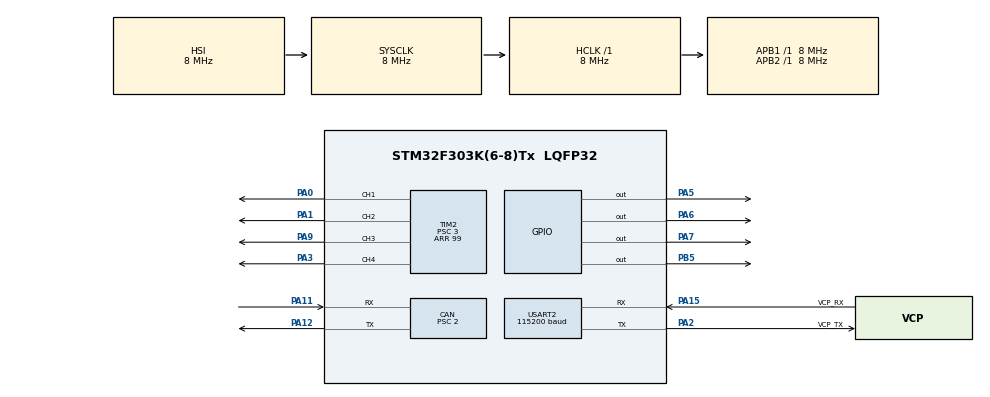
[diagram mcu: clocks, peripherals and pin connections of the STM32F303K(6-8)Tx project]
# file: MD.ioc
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CAN.BS1=CAN_BS1_2TQ
CAN.CalculateBaudRate=1000000
CAN.CalculateTimeBit=1000
CAN.CalculateTimeQuantum=250.0
CAN.Prescaler=2
Mcu.Family=STM32F3
Mcu.Name=STM32F303K(6-8)Tx
Mcu.Package=LQFP32
NVIC.CAN_RX0_IRQn=true\:0\:0\:false\:false\:true\:true\:true\:true
NVIC.PriorityGroup=NVIC_PRIORITYGROUP_4
NVIC.USART2_IRQn=true\:0\:0\:false\:false\:true\:true\:true\:true
PA0.Signal=S_TIM2_CH1_ETR
PA1.Signal=S_TIM2_CH2
PA11.Mode=CAN_Activate
PA11.Signal=CAN_RX
PA12.Mode=CAN_Activate
PA12.Signal=CAN_TX
PA13.GPIO_Label=SWDIO
PA13.Mode=Serial_Wire
PA13.Signal=SYS_JTMS-SWDIO
PA14.GPIO_Label=SWCLK
PA14.Mode=Serial_Wire
PA14.Signal=SYS_JTCK-SWCLK
PA15.GPIO_Label=VCP_RX
PA15.Mode=Asynchronous
PA15.Signal=USART2_RX
PA2.GPIO_Label=VCP_TX
PA2.Mode=Asynchronous
PA2.Signal=USART2_TX
PA3.Signal=S_TIM2_CH4
PA5.Signal=GPIO_Output
PA6.Signal=GPIO_Output
PA7.Signal=GPIO_Output
PA9.Signal=S_TIM2_CH3
PB5.Signal=GPIO_Output
PF0\ /\ OSC_IN.GPIO_Label=MCO
PF0\ /\ OSC_IN.Mode=HSE-External-Clock-Source
PF0\ /\ OSC_IN.Signal=RCC_OSC_IN
ProjectManager.HeapSize=0x200
ProjectManager.StackSize=0x400
ProjectManager.TargetToolchain=STM32CubeIDE
RCC.AHBFreq_Value=8000000
RCC.APB1Freq_Value=8000000
RCC.APB2Freq_Value=8000000
RCC.CortexFreq_Value=8000000
RCC.HSE_VALUE=8000000
RCC.HSI_VALUE=8000000
RCC.SYSCLKFreq_VALUE=8000000
SH.S_TIM2_CH1_ETR.0=TIM2_CH1,PWM Generation1 CH1
SH.S_TIM2_CH2.0=TIM2_CH2,PWM Generation2 CH2
SH.S_TIM2_CH3.0=TIM2_CH3,PWM Generation3 CH3
SH.S_TIM2_CH4.0=TIM2_CH4,PWM Generation4 CH4
TIM2.Channel-PWM\ Generation1\ CH1=TIM_CHANNEL_1
TIM2.Channel-PWM\ Generation2\ CH2=TIM_CHANNEL_2
TIM2.Channel-PWM\ Generation3\ CH3=TIM_CHANNEL_3
TIM2.Channel-PWM\ Generation4\ CH4=TIM_CHANNEL_4
TIM2.Period=99
TIM2.Prescaler=3
USART2.BaudRate=115200
USART2.VirtualMode-Asynchronous=VM_ASYNC
board=NUCLEO-F303K8

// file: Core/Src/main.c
/* USER CODE BEGIN Header */
/**
  ******************************************************************************
  * @file           : main.c
  * @brief          : Main program body
  ******************************************************************************
  * @attention
  *
  * Copyright (c) 2026 STMicroelectronics.
  * All rights reserved.
  *
  * This software is licensed under terms that can be found in the LICENSE file
  * in the root directory of this software component.
  * If no LICENSE file comes with this software, it is provided AS-IS.
  *
  ******************************************************************************
  */
/* USER CODE END Header */
#include "main.h"
/* USER CODE BEGIN Includes */
#include <stdio.h>
/* USER CODE END Includes */

/* USER CODE BEGIN PD */
#define CAN_ID 0x200
/* USER CODE END PD */

CAN_HandleTypeDef hcan;

TIM_HandleTypeDef htim2;

UART_HandleTypeDef huart2;

/* USER CODE BEGIN PV */
uint8_t currentPWM[4]; //0:机 1:供給 2:
uint8_t currentDIR[4];
uint32_t rxId;
uint8_t canRxFlag = 0;

int flag;

uint8_t RxData[8];
/* USER CODE END PV */

void SystemClock_Config(void);
static void MX_GPIO_Init(void);
static void MX_USART2_UART_Init(void);
static void MX_CAN_Init(void);
static void MX_TIM2_Init(void);

/* USER CODE BEGIN 0 */
void HAL_CAN_RxFifo0MsgPendingCallback(CAN_HandleTypeDef *hcan){
    CAN_RxHeaderTypeDef RxHeader;

    if(HAL_CAN_GetRxMessage(hcan, CAN_RX_FIFO0, &RxHeader, RxData) == HAL_OK){
        //rxId = (RxHeader.IDE == CAN_ID_STD)? RxHeader.StdId : RxHeader.ExtId ;
     if (RxHeader.IDE == CAN_ID_STD) {
         rxId = RxHeader.StdId;
     }
            for(int i = 0 ; i < 4 ; i++){
             currentPWM[i] = RxData[i];
            }
            for(int i = 0 ; i < 4 ; i++){
             currentDIR[i] = RxData[i + 4];
            }
             canRxFlag = 1;

        }
    }

/* USER CODE END 0 */

int main(void)
{

  /* MCU Configuration--------------------------------------------------------*/

  /* Reset of all peripherals, Initializes the Flash interface and the Systick. */
  HAL_Init();

  /* Configure the system clock */
  SystemClock_Config();

  /* Initialize all configured peripherals */
  MX_GPIO_Init();
  MX_USART2_UART_Init();
  MX_CAN_Init();
  MX_TIM2_Init();
  /* USER CODE BEGIN 2 */
  HAL_CAN_Start(&hcan);
  HAL_CAN_ActivateNotification(&hcan, CAN_IT_RX_FIFO0_MSG_PENDING);
  HAL_TIM_PWM_Start(&htim2, TIM_CHANNEL_1);
  HAL_TIM_PWM_Start(&htim2, TIM_CHANNEL_2);
  HAL_TIM_PWM_Start(&htim2, TIM_CHANNEL_3);
  HAL_TIM_PWM_Start(&htim2, TIM_CHANNEL_4);
  /* USER CODE END 2 */

  /* Infinite loop */
  /* USER CODE BEGIN WHILE */
  while (1)
  {
	  if(canRxFlag){
	          canRxFlag = 0;

	          __HAL_TIM_SET_COMPARE(&htim2,TIM_CHANNEL_4,currentPWM[0]);
	          __HAL_TIM_SET_COMPARE(&htim2,TIM_CHANNEL_2,currentPWM[1]);
	          __HAL_TIM_SET_COMPARE(&htim2,TIM_CHANNEL_1,currentPWM[2]);
	          __HAL_TIM_SET_COMPARE(&htim2,TIM_CHANNEL_3,currentPWM[3]);

	          HAL_GPIO_WritePin(GPIOB, GPIO_PIN_5, currentDIR[3]);
	          HAL_GPIO_WritePin(GPIOA, GPIO_PIN_7, currentDIR[1]);
	          HAL_GPIO_WritePin(GPIOA, GPIO_PIN_5, currentDIR[0]);
	          HAL_GPIO_WritePin(GPIOA, GPIO_PIN_6, currentDIR[2]);

	          char buff[128];
	          int size = snprintf(buff,sizeof(buff),"Rx\tID:%4lX\tdata %5d %5d %5d %5d\n\r", rxId,currentPWM[0],currentPWM[1],currentPWM[2],currentPWM[3]);
	          HAL_UART_Transmit_IT(&huart2, (uint8_t*)buff, size);
	          }
    /* USER CODE END WHILE */

  }
}

void SystemClock_Config(void)
{
  RCC_OscInitTypeDef RCC_OscInitStruct = {0};
  RCC_ClkInitTypeDef RCC_ClkInitStruct = {0};

  /** Initializes the RCC Oscillators according to the specified parameters
  * in the RCC_OscInitTypeDef structure.
  */
  RCC_OscInitStruct.OscillatorType = RCC_OSCILLATORTYPE_HSI;
  RCC_OscInitStruct.HSIState = RCC_HSI_ON;
  RCC_OscInitStruct.HSICalibrationValue = RCC_HSICALIBRATION_DEFAULT;
  RCC_OscInitStruct.PLL.PLLState = RCC_PLL_NONE;
  if (HAL_RCC_OscConfig(&RCC_OscInitStruct) != HAL_OK)
  {
    Error_Handler();
  }

  /** Initializes the CPU, AHB and APB buses clocks
  */
  RCC_ClkInitStruct.ClockType = RCC_CLOCKTYPE_HCLK|RCC_CLOCKTYPE_SYSCLK
                              |RCC_CLOCKTYPE_PCLK1|RCC_CLOCKTYPE_PCLK2;
  RCC_ClkInitStruct.SYSCLKSource = RCC_SYSCLKSOURCE_HSI;
  RCC_ClkInitStruct.AHBCLKDivider = RCC_SYSCLK_DIV1;
  RCC_ClkInitStruct.APB1CLKDivider = RCC_HCLK_DIV1;
  RCC_ClkInitStruct.APB2CLKDivider = RCC_HCLK_DIV1;

  if (HAL_RCC_ClockConfig(&RCC_ClkInitStruct, FLASH_LATENCY_0) != HAL_OK)
  {
    Error_Handler();
  }
}

static void MX_CAN_Init(void)
{

  hcan.Instance = CAN;
  hcan.Init.Prescaler = 2;
  hcan.Init.Mode = CAN_MODE_NORMAL;
  hcan.Init.SyncJumpWidth = CAN_SJW_1TQ;
  hcan.Init.TimeSeg1 = CAN_BS1_2TQ;
  hcan.Init.TimeSeg2 = CAN_BS2_1TQ;
  hcan.Init.TimeTriggeredMode = DISABLE;
  hcan.Init.AutoBusOff = DISABLE;
  hcan.Init.AutoWakeUp = DISABLE;
  hcan.Init.AutoRetransmission = DISABLE;
  hcan.Init.ReceiveFifoLocked = DISABLE;
  hcan.Init.TransmitFifoPriority = DISABLE;
  if (HAL_CAN_Init(&hcan) != HAL_OK)
  {
    Error_Handler();
  }
  /* USER CODE BEGIN CAN_Init 2 */
  CAN_FilterTypeDef filter;
   filter.FilterIdHigh           = CAN_ID << 5;               // フィルターID上位16bit
   filter.FilterIdLow            = 0;                        // フィルターID下位16bit
   filter.FilterMaskIdHigh       = 0x7FF << 5;                   // フィルターマスクID上位16bit
   filter.FilterMaskIdLow        = 0;                        // フィルターマスクID下位16bit
   filter.FilterScale            = CAN_FILTERSCALE_32BIT;    // 32ビットモード
   filter.FilterFIFOAssignment   = CAN_FILTER_FIFO0;         // FIFO0へ格納
   filter.FilterBank	            = 0;
   filter.FilterMode             = CAN_FILTERMODE_IDMASK;    // IDマスクモード
   filter.SlaveStartFilterBank   = 14;
   filter.FilterActivation       = ENABLE;

   HAL_CAN_ConfigFilter(&hcan, &filter);
  /* USER CODE END CAN_Init 2 */

}

static void MX_TIM2_Init(void)
{

  TIM_MasterConfigTypeDef sMasterConfig = {0};
  TIM_OC_InitTypeDef sConfigOC = {0};

  htim2.Instance = TIM2;
  htim2.Init.Prescaler = 3;
  htim2.Init.CounterMode = TIM_COUNTERMODE_UP;
  htim2.Init.Period = 99;
  htim2.Init.ClockDivision = TIM_CLOCKDIVISION_DIV1;
  htim2.Init.AutoReloadPreload = TIM_AUTORELOAD_PRELOAD_DISABLE;
  if (HAL_TIM_PWM_Init(&htim2) != HAL_OK)
  {
    Error_Handler();
  }
  sMasterConfig.MasterOutputTrigger = TIM_TRGO_RESET;
  sMasterConfig.MasterSlaveMode = TIM_MASTERSLAVEMODE_DISABLE;
  if (HAL_TIMEx_MasterConfigSynchronization(&htim2, &sMasterConfig) != HAL_OK)
  {
    Error_Handler();
  }
  sConfigOC.OCMode = TIM_OCMODE_PWM1;
  sConfigOC.Pulse = 0;
  sConfigOC.OCPolarity = TIM_OCPOLARITY_HIGH;
  sConfigOC.OCFastMode = TIM_OCFAST_DISABLE;
  if (HAL_TIM_PWM_ConfigChannel(&htim2, &sConfigOC, TIM_CHANNEL_1) != HAL_OK)
  {
    Error_Handler();
  }
  if (HAL_TIM_PWM_ConfigChannel(&htim2, &sConfigOC, TIM_CHANNEL_2) != HAL_OK)
  {
    Error_Handler();
  }
  if (HAL_TIM_PWM_ConfigChannel(&htim2, &sConfigOC, TIM_CHANNEL_3) != HAL_OK)
  {
    Error_Handler();
  }
  if (HAL_TIM_PWM_ConfigChannel(&htim2, &sConfigOC, TIM_CHANNEL_4) != HAL_OK)
  {
    Error_Handler();
  }
  HAL_TIM_MspPostInit(&htim2);

}

static void MX_USART2_UART_Init(void)
{

  huart2.Instance = USART2;
  huart2.Init.BaudRate = 115200;
  huart2.Init.WordLength = UART_WORDLENGTH_8B;
  huart2.Init.StopBits = UART_STOPBITS_1;
  huart2.Init.Parity = UART_PARITY_NONE;
  huart2.Init.Mode = UART_MODE_TX_RX;
  huart2.Init.HwFlowCtl = UART_HWCONTROL_NONE;
  huart2.Init.OverSampling = UART_OVERSAMPLING_16;
  huart2.Init.OneBitSampling = UART_ONE_BIT_SAMPLE_DISABLE;
  huart2.AdvancedInit.AdvFeatureInit = UART_ADVFEATURE_NO_INIT;
  if (HAL_UART_Init(&huart2) != HAL_OK)
  {
    Error_Handler();
  }
  /* USER CODE BEGIN USART2_Init 2 */
  /* USER CODE END CAN_Init 2 */
  /* USER CODE END USART2_Init 2 */

}

static void MX_GPIO_Init(void)
{
  GPIO_InitTypeDef GPIO_InitStruct = {0};

  /* GPIO Ports Clock Enable */
  __HAL_RCC_GPIOF_CLK_ENABLE();
  __HAL_RCC_GPIOA_CLK_ENABLE();
  __HAL_RCC_GPIOB_CLK_ENABLE();

  /*Configure GPIO pin Output Level */
  HAL_GPIO_WritePin(GPIOA, GPIO_PIN_5|GPIO_PIN_6|GPIO_PIN_7, GPIO_PIN_RESET);

  /*Configure GPIO pin Output Level */
  HAL_GPIO_WritePin(GPIOB, GPIO_PIN_5, GPIO_PIN_RESET);

  /*Configure GPIO pins : PA5 PA6 PA7 */
  GPIO_InitStruct.Pin = GPIO_PIN_5|GPIO_PIN_6|GPIO_PIN_7;
  GPIO_InitStruct.Mode = GPIO_MODE_OUTPUT_PP;
  GPIO_InitStruct.Pull = GPIO_NOPULL;
  GPIO_InitStruct.Speed = GPIO_SPEED_FREQ_LOW;
  HAL_GPIO_Init(GPIOA, &GPIO_InitStruct);

  /*Configure GPIO pin : PB5 */
  GPIO_InitStruct.Pin = GPIO_PIN_5;
  GPIO_InitStruct.Mode = GPIO_MODE_OUTPUT_PP;
  GPIO_InitStruct.Pull = GPIO_NOPULL;
  GPIO_InitStruct.Speed = GPIO_SPEED_FREQ_LOW;
  HAL_GPIO_Init(GPIOB, &GPIO_InitStruct);

}

void Error_Handler(void)
{
  __disable_irq();
  while (1)
  {
  }
}
